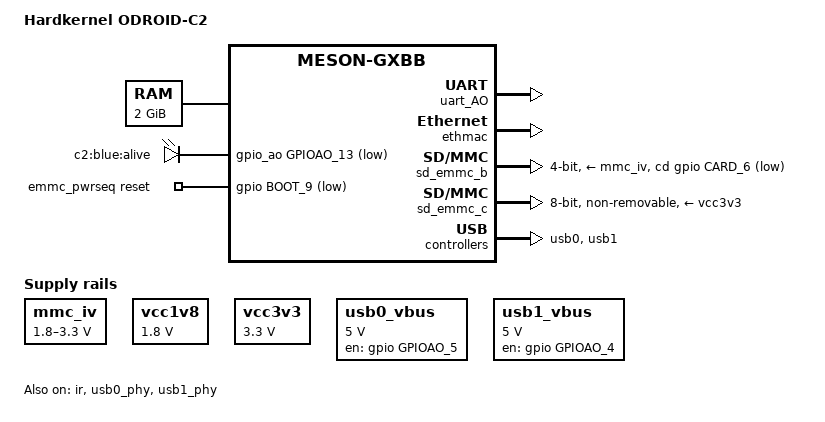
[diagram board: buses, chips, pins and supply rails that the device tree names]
/*
 * Copyright (c) 2016 Andreas Färber
 * Copyright (c) 2016 BayLibre, Inc.
 * Author: Kevin Hilman <khilman@kernel.org>
 *
 * This file is dual-licensed: you can use it either under the terms
 * of the GPL or the X11 license, at your option. Note that this dual
 * licensing only applies to this file, and not this project as a
 * whole.
 *
 *  a) This library is free software; you can redistribute it and/or
 *     modify it under the terms of the GNU General Public License as
 *     published by the Free Software Foundation; either version 2 of the
 *     License, or (at your option) any later version.
 *
 *     This library is distributed in the hope that it will be useful,
 *     but WITHOUT ANY WARRANTY; without even the implied warranty of
 *     MERCHANTABILITY or FITNESS FOR A PARTICULAR PURPOSE.  See the
 *     GNU General Public License for more details.
 *
 * Or, alternatively,
 *
 *  b) Permission is hereby granted, free of charge, to any person
 *     obtaining a copy of this software and associated documentation
 *     files (the "Software"), to deal in the Software without
 *     restriction, including without limitation the rights to use,
 *     copy, modify, merge, publish, distribute, sublicense, and/or
 *     sell copies of the Software, and to permit persons to whom the
 *     Software is furnished to do so, subject to the following
 *     conditions:
 *
 *     The above copyright notice and this permission notice shall be
 *     included in all copies or substantial portions of the Software.
 *
 *     THE SOFTWARE IS PROVIDED "AS IS", WITHOUT WARRANTY OF ANY KIND,
 *     EXPRESS OR IMPLIED, INCLUDING BUT NOT LIMITED TO THE WARRANTIES
 *     OF MERCHANTABILITY, FITNESS FOR A PARTICULAR PURPOSE AND
 *     NONINFRINGEMENT. IN NO EVENT SHALL THE AUTHORS OR COPYRIGHT
 *     HOLDERS BE LIABLE FOR ANY CLAIM, DAMAGES OR OTHER LIABILITY,
 *     WHETHER IN AN ACTION OF CONTRACT, TORT OR OTHERWISE, ARISING
 *     FROM, OUT OF OR IN CONNECTION WITH THE SOFTWARE OR THE USE OR
 *     OTHER DEALINGS IN THE SOFTWARE.
 */

/dts-v1/;

#include "meson-gxbb.dtsi"
#include <dt-bindings/gpio/gpio.h>

/ {
	compatible = "hardkernel,odroid-c2", "amlogic,meson-gxbb";
	model = "Hardkernel ODROID-C2";
	
	aliases {
		serial0 = &uart_AO;
	};

	chosen {
		stdout-path = "serial0:115200n8";
	};

	memory@0 {
		device_type = "memory";
		reg = <0x0 0x0 0x0 0x80000000>;
	};

	leds {
		compatible = "gpio-leds";
		blue {
			label = "c2:blue:alive";
			gpios = <&gpio_ao GPIOAO_13 GPIO_ACTIVE_LOW>;
			linux,default-trigger = "heartbeat";
			default-state = "off";
		};
	};

	mmc_iv: gpio-regulator {
		compatible = "regulator-gpio";

		regulator-name = "mmc-gpio-supply";
		regulator-min-microvolt = <1800000>;
		regulator-max-microvolt = <3300000>;

		gpios = <&gpio_ao GPIOAO_3 GPIO_ACTIVE_HIGH>;
		gpios-states = <0>;

		/*
		 * Based on ODROID-C2 schematics:
		 * signal name: IO_TF_3V3N_1V8, GPIOAO bit 3
		 */
		states = <3300000 0
			  1800000 1>;
	};

	vcc1v8: regulator-vcc1v8 {
		compatible = "regulator-fixed";
		regulator-name = "VCC1V8";
		regulator-min-microvolt = <1800000>;
		regulator-max-microvolt = <1800000>;
		regulator-always-on;
	};

	vcc3v3: regulator-vcc3v3 {
		compatible = "regulator-fixed";
		regulator-name = "VCC3V3";
		regulator-min-microvolt = <3300000>;
		regulator-max-microvolt = <3300000>;
		regulator-always-on;
	};

	emmc_pwrseq: emmc-pwrseq {
		compatible = "mmc-pwrseq-emmc";
		reset-gpios = <&gpio BOOT_9 GPIO_ACTIVE_LOW>;
	};

	usb0_vbus: regulator-usb0-vbus {
		compatible = "regulator-fixed";

		regulator-name = "USB0_VBUS";

		regulator-min-microvolt = <5000000>;
		regulator-max-microvolt = <5000000>;

		gpio = <&gpio GPIOAO_5 GPIO_ACTIVE_HIGH>;
		enable-active-high;
	};

	usb1_vbus: regulator-usb1-vbus {
		compatible = "regulator-fixed";

		regulator-name = "USB1_VBUS";

		regulator-min-microvolt = <5000000>;
		regulator-max-microvolt = <5000000>;

		gpio = <&gpio GPIOAO_4 GPIO_ACTIVE_HIGH>;
		enable-active-high;
	};
};

&uart_AO {
	status = "okay";
	pinctrl-0 = <&uart_ao_a_pins>;
	pinctrl-names = "default";
};

&ethmac {
	status = "okay";
	pinctrl-0 = <&eth_pins>;
	pinctrl-names = "default";
};

&ir {
	status = "okay";
	pinctrl-0 = <&remote_input_ao_pins>;
	pinctrl-names = "default";
};

&sd_emmc_b {
	status = "okay";
	pinctrl-0 = <&sdcard_pins>;
	pinctrl-names = "default";

	bus-width = <4>;
	cap-sd-highspeed;
	max-frequency = <100000000>;

	cd-gpios = <&gpio CARD_6 GPIO_ACTIVE_HIGH>;
	cd-inverted;

	vmmc-supply = <&mmc_iv>;
	voltage-ranges = <1800 3300>;
};

&sd_emmc_c {
	status = "okay";
	pinctrl-0 = <&emmc_pins>;
	pinctrl-names = "default";

	bus-width = <8>;
	cap-sd-highspeed;
	max-frequency = <200000000>;
	non-removable;
	disable-wp;
	cap-mmc-highspeed;
	mmc-ddr-1_8v;
	mmc-hs200-1_8v;

	mmc-pwrseq = <&emmc_pwrseq>;
	voltage-ranges = <1800 3300>;
	vmmc-supply = <&vcc3v3>;
	vmmcq-sumpply = <&vcc1v8>;
};

&usb0_phy {
	status = "okay";
	phy-supply = <&usb0_vbus>;
};

&usb1_phy {
	status = "okay";
	phy-supply = <&usb1_vbus>;
};

&usb0 {
	status = "okay";
};

&usb1 {
	status = "okay";
};
